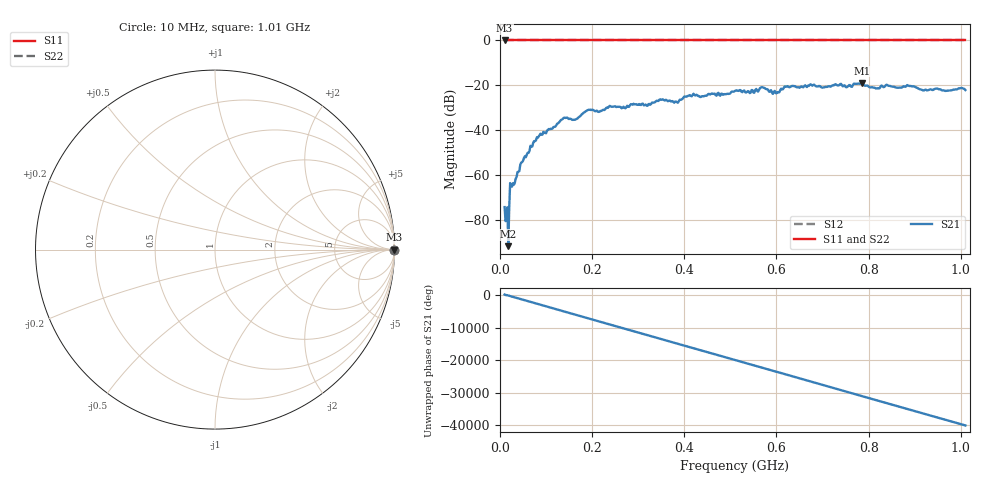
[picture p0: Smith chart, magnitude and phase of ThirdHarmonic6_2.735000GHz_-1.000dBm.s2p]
! 8/17/2025 6:45:11 AM
! C:\ANRITSUVNA\TEMP\TEMP.S2P
! CHANNEL.1
! TR.MEASUREMENT
! RAW.DATA
! RF.CORRECTION.OFF
! AVERAGING.OFF
! IF.BANDWIDTH: 5KHZ
! SWEEPTYPE:  FREQ.SWEEP(Linear)
! Reference Plane Port Info
! PORT:  PORT1  PORT2
! DISTANCE:  0  m  0  m
! TIME:  0  s  0  s
! PHASE.OFFSET:  0  deg.  0  deg.
! LOSS:  0  dB  0  dB
! REF.LOSS:  0  dB  0  dB
! REF.FREQ:  0  Hz  0  Hz
! Power Info
! POWER:  -20  dBm  -20  dBm
! EFF.POWER:  -20  dBm  -20  dBm
! SOURCE.ATTEN:  0  dB  0  dB
! TEST.ATTEN:  0  dB  0  dB
# GHZ S RI R 50.0
! FREQ.GHZ  S11RE  S11IM  S21RE  S21IM  S12RE  S12IM  S22RE  S22IM
!; PortSelection: Port_12
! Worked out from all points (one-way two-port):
!   501 points, 10 MHz to 1.01 GHz, reference 50 ohm
!   highest |S21| = -18.93 dB at 786 MHz (marker M1); lowest = -91.8 dB at 18 MHz (marker M2)
!   lowest |S11| = 0.0 dB at 10 MHz (marker M3)
!   |S11| at or under -10 dB: nowhere
!   |S22| runs from 0.0 to 0.0 dB; largest |S21 - S12| = 1.1
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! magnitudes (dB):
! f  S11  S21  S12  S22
! 10 MHz  0.0  -74.4  0.0  0.0
! 16 MHz  0.0  -74.5  0.0  0.0
! 18 MHz  0.0  -91.8  0.0  0.0
! 26 MHz  0.0  -65.3  0.0  0.0
! 32 MHz  0.0  -63.6  0.0  0.0
! 48 MHz  0.0  -54.3  0.0  0.0
! 76 MHz  0.0  -45.0  0.0  0.0
! 136 MHz  0.0  -35.1  0.0  0.0
! 162 MHz  0.0  -35.4  0.0  0.0
! 178 MHz  0.0  -32.8  0.0  0.0
! 344 MHz  0.0  -27.0  0.0  0.0
! 382 MHz  0.0  -27.2  0.0  0.0
! 410 MHz  0.0  -24.5  0.0  0.0
! 510 MHz  0.0  -22.5  0.0  0.0
! 570 MHz  0.0  -20.9  0.0  0.0
! 602 MHz  0.0  -23.0  0.0  0.0
! 620 MHz  0.0  -20.6  0.0  0.0
! 678 MHz  0.0  -20.2  0.0  0.0
! 786 MHz  0.0  -18.9  0.0  0.0
! 818 MHz  0.0  -21.4  0.0  0.0
! 844 MHz  0.0  -20.3  0.0  0.0
! 1.01 GHz  0.0  -22.2  0.0  0.0
